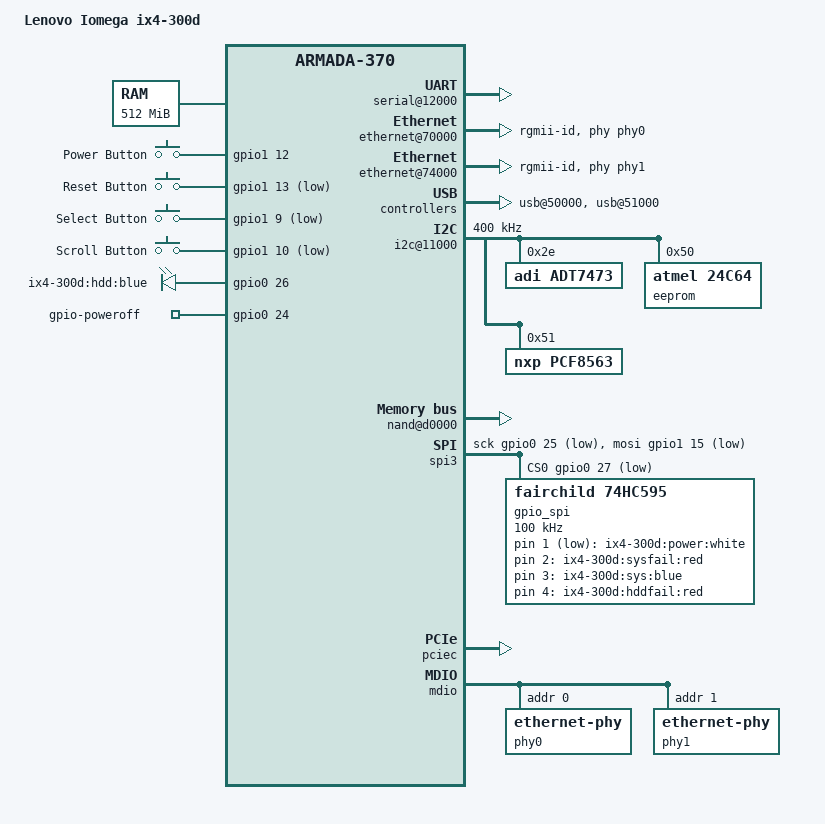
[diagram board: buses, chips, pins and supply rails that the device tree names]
// SPDX-License-Identifier: (GPL-2.0+ OR MIT)
/*
 * Device Tree file for Lenovo Iomega ix4-300d
 *
 * Copyright (C) 2014, Benoit Masson <yahoo@perenite.com>
 */

/dts-v1/;

#include <dt-bindings/input/input.h>
#include <dt-bindings/gpio/gpio.h>
#include "armada-xp-mv78230.dtsi"

/ {
	model = "Lenovo Iomega ix4-300d";
	compatible = "lenovo,ix4-300d", "marvell,armadaxp-mv78230",
		     "marvell,armadaxp", "marvell,armada-370-xp";

	chosen {
		stdout-path = "serial0:115200n8";
	};

	memory@0 {
		device_type = "memory";
		reg = <0 0x00000000 0 0x20000000>; /* 512MB */
	};

	soc {
		ranges = <MBUS_ID(0xf0, 0x01) 0 0 0xd0000000 0x100000
			MBUS_ID(0x01, 0x1d) 0 0 0xfff00000 0x100000
			MBUS_ID(0x09, 0x09) 0 0 0xf1100000 0x10000
			MBUS_ID(0x09, 0x05) 0 0 0xf1110000 0x10000>;

		internal-regs {
			serial@12000 {
				status = "okay";
			};

			ethernet@70000 {
				pinctrl-0 = <&ge0_rgmii_pins>;
				pinctrl-names = "default";
				status = "okay";
				phy = <&phy0>;
				phy-mode = "rgmii-id";
			};

			ethernet@74000 {
				pinctrl-0 = <&ge1_rgmii_pins>;
				pinctrl-names = "default";
				status = "okay";
				phy = <&phy1>;
				phy-mode = "rgmii-id";
			};

			usb@50000 {
				status = "okay";
			};

			usb@51000 {
				status = "okay";
			};

			i2c@11000 {
				clock-frequency = <400000>;
				status = "okay";

				adt7473@2e {
					compatible = "adi,adt7473";
					reg = <0x2e>;
				};

				eeprom@50 {
					compatible = "atmel,24c64";
					reg = <0x50>;
				};

				pcf8563@51 {
					compatible = "nxp,pcf8563";
					reg = <0x51>;
				};

			};

			nand@d0000 {
				status = "okay";
				label = "pxa3xx_nand-0";
				num-cs = <1>;
				marvell,nand-keep-config;
				nand-on-flash-bbt;

				partitions {
					compatible = "fixed-partitions";
					#address-cells = <1>;
					#size-cells = <1>;

					partition@0 {
						label = "u-boot";
						reg = <0x00000000 0x000e0000>;
						read-only;
					};

					partition@e0000 {
						label = "u-boot-env";
						reg = <0x000e0000 0x00020000>;
						read-only;
					};

					partition@100000 {
						label = "u-boot-env2";
						reg = <0x00100000 0x00020000>;
						read-only;
					};

					partition@120000 {
						label = "zImage";
						reg = <0x00120000 0x00400000>;
					};

					partition@520000 {
						label = "initrd";
						reg = <0x00520000 0x00400000>;
					};

					partition@e00000 {
						label = "boot";
						reg = <0x00e00000 0x3f200000>;
					};
				};
			};
		};
	};

	gpio-keys {
		compatible = "gpio-keys";
		pinctrl-0 = <&power_button_pin &reset_button_pin
			&select_button_pin &scroll_button_pin>;
		pinctrl-names = "default";

		power-button {
			label = "Power Button";
			linux,code = <KEY_POWER>;
			gpios = <&gpio1 12 GPIO_ACTIVE_HIGH>;
		};

		reset-button {
			label = "Reset Button";
			linux,code = <KEY_RESTART>;
			gpios = <&gpio1 13 GPIO_ACTIVE_LOW>;
		};

		select-button {
			label = "Select Button";
			linux,code = <BTN_SELECT>;
			gpios = <&gpio1 9 GPIO_ACTIVE_LOW>;
		};

		scroll-button {
			label = "Scroll Button";
			linux,code = <KEY_SCROLLDOWN>;
			gpios = <&gpio1 10 GPIO_ACTIVE_LOW>;
		};
	};

	spi3 {
		compatible = "spi-gpio";
		status = "okay";
		gpio-sck = <&gpio0 25 GPIO_ACTIVE_LOW>;
		gpio-mosi = <&gpio1 15 GPIO_ACTIVE_LOW>; /*gpio 47*/
		cs-gpios = <&gpio0 27 GPIO_ACTIVE_LOW>;
		num-chipselects = <1>;
		#address-cells = <1>;
		#size-cells = <0>;

		gpio_spi: gpio_spi@0 {
			compatible = "fairchild,74hc595";
			gpio-controller;
			#gpio-cells = <2>;
			reg = <0>;
			registers-number = <1>;
			spi-max-frequency = <100000>;
		};
	};

	gpio-leds {
		compatible = "gpio-leds";
		pinctrl-0 = <&hdd_led_pin>;
		pinctrl-names = "default";

		hdd-led {
			label = "ix4-300d:hdd:blue";
			gpios = <&gpio0 26 GPIO_ACTIVE_HIGH>;
			default-state = "off";
		};

		power-led {
			label = "ix4-300d:power:white";
			gpios = <&gpio_spi 1 GPIO_ACTIVE_LOW>;
			/* init blinking while booting */
			linux,default-trigger = "timer";
			default-state = "on";
		};

		sysfail-led {
			label = "ix4-300d:sysfail:red";
			gpios = <&gpio_spi 2 GPIO_ACTIVE_HIGH>;
			default-state = "off";
		};

		sys-led {
			label = "ix4-300d:sys:blue";
			gpios = <&gpio_spi 3 GPIO_ACTIVE_HIGH>;
			default-state = "off";
		};

		hddfail-led {
			label = "ix4-300d:hddfail:red";
			gpios = <&gpio_spi 4 GPIO_ACTIVE_HIGH>;
			default-state = "off";
		};

	};

	/*
	 * Warning: you need both eth1 & 0 PHY initialized (i.e having
	 * them up does the tweak) for poweroff to shutdown otherwise it
	 * reboots
	 */
	gpio-poweroff {
		compatible = "gpio-poweroff";
		pinctrl-0 = <&poweroff_pin>;
		pinctrl-names = "default";
		gpios = <&gpio0 24 GPIO_ACTIVE_HIGH>;
	};
};
&pciec {
	status = "okay";

	/* Quad port sata: Marvell 88SX7042 */
	pcie@1,0 {
		/* Port 0, Lane 0 */
		status = "okay";
	};

	/* USB 3.0 xHCI controller: NEC D720200F1 */
	pcie@5,0 {
		/* Port 1, Lane 0 */
		status = "okay";
	};
};

&mdio {
	phy0: ethernet-phy@0 { /* Marvell 88E1318 */
		reg = <0>;
	};

	phy1: ethernet-phy@1 { /* Marvell 88E1318 */
		reg = <1>;
	};
};

&pinctrl {
	poweroff_pin: poweroff-pin {
		marvell,pins = "mpp24";
		marvell,function = "gpio";
	};

	power_button_pin: power-button-pin {
		marvell,pins = "mpp44";
		marvell,function = "gpio";
	};

	reset_button_pin: reset-button-pin {
		marvell,pins = "mpp45";
		marvell,function = "gpio";
	};
	select_button_pin: select-button-pin {
		marvell,pins = "mpp41";
		marvell,function = "gpio";
	};

	scroll_button_pin: scroll-button-pin {
		marvell,pins = "mpp42";
		marvell,function = "gpio";
	};

	hdd_led_pin: hdd-led-pin {
		marvell,pins = "mpp26";
		marvell,function = "gpio";
	};
};
